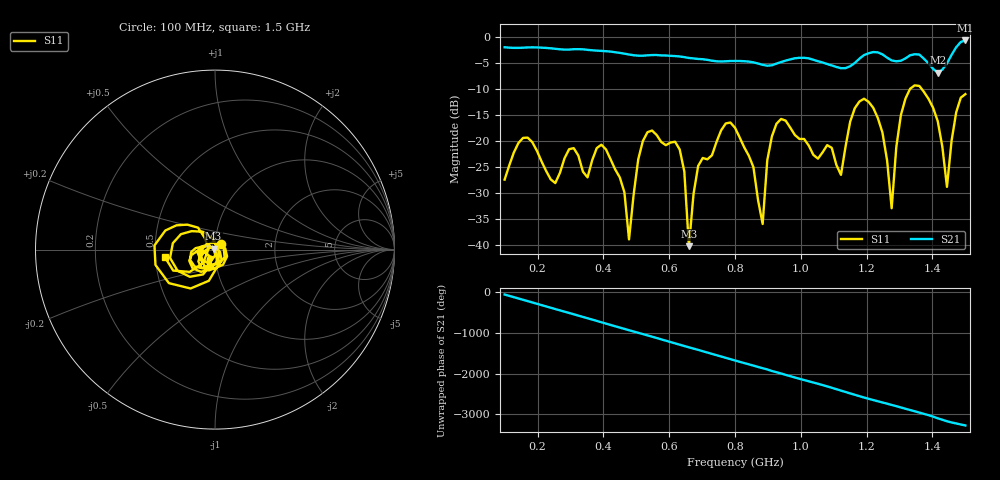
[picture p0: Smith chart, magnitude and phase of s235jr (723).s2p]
! NanoVNA-App
! Date: 2025-09-25 15:09:48
! Start: 100MHz Stop: 1,5GHz Points: 101
! S-Parameter data: F S11 S21 S12 S22
# Hz S RI R 50
!  Frequency  S11_Real  S11_Imag  S21_Real  S21_Imag  S12_Real  S12_Imag  S22_Real  S22_Imag
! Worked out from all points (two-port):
!   101 points, 100 MHz to 1.5 GHz, reference 50 ohm
!   highest |S21| = -0.65 dB at 1.5 GHz (marker M1); lowest = -6.8 dB at 1.416 GHz (marker M2)
!   |S21| within 3 dB of the highest: start of sweep to 615.4 MHz; 1.188 GHz to 1.255 GHz (66.77 MHz wide, 5.47 % of centre) (the widest 2 of 4)
!   lowest |S11| = -40.3 dB at 660 MHz (marker M3), VSWR 1.02, Z = 49.2 + j0.538 ohm
!   |S11| at or under -10 dB: start of sweep to 1.332 GHz; 1.367 GHz to end of sweep
!   S12 and S22 are empty: the file has one direction only
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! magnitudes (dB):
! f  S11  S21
! 100 MHz  -27.5  -2.0
! 156 MHz  -19.4  -2.1
! 338 MHz  -25.9  -2.4
! 408 MHz  -21.6  -2.7
! 478 MHz  -39.0  -3.4
! 520 MHz  -20.0  -3.6
! 576 MHz  -20.2  -3.5
! 632 MHz  -21.7  -3.7
! 660 MHz  -40.3  -4.0
! 688 MHz  -24.8  -4.2
! 800 MHz  -17.5  -4.6
! 884 MHz  -36.0  -5.4
! 926 MHz  -16.7  -5.1
! 1.038 GHz  -22.7  -4.4
! 1.122 GHz  -26.6  -6.0
! 1.206 GHz  -12.5  -3.1
! 1.276 GHz  -33.0  -4.5
! 1.304 GHz  -15.0  -4.6
! 1.332 GHz  -10.0  -3.5
! 1.416 GHz  -16.2  -6.8
! 1.444 GHz  -28.9  -5.1
! 1.5 GHz  -11.0  -0.7
